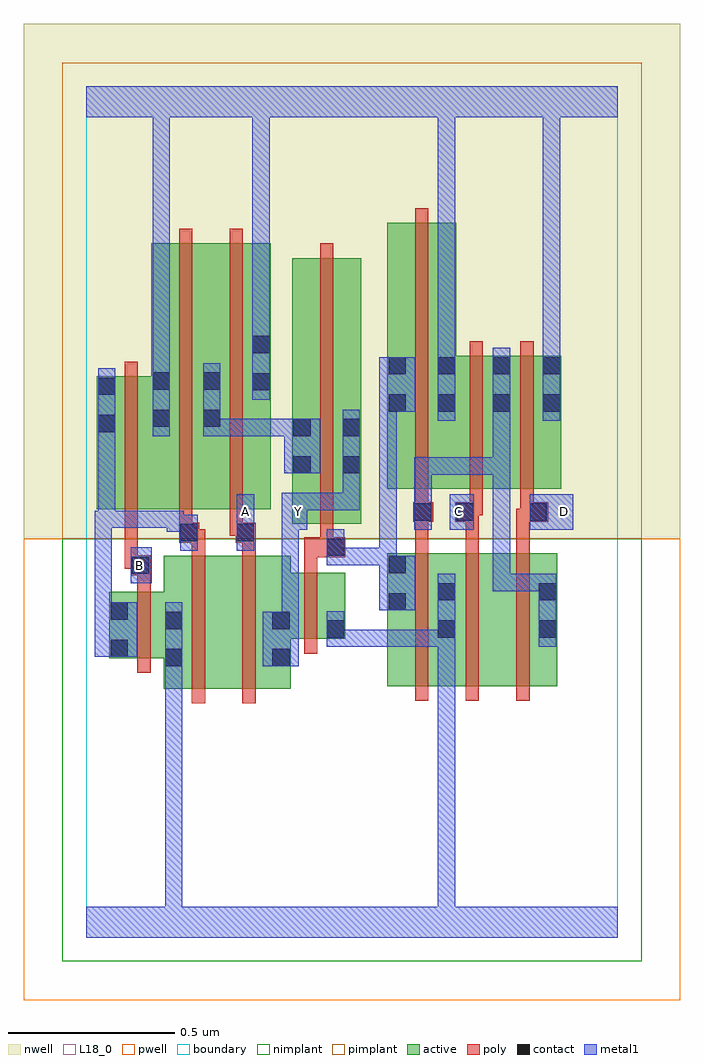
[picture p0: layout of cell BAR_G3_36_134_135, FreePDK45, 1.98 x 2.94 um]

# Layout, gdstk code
import gdstk
lib = gdstk.Library(unit=1e-6, precision=1e-09)
def R(c, l, rs):  # rectangles x0, y0, x1, y1
    for r in rs: c.add(gdstk.rectangle(r[:2], r[2:], *l))
def A(c, l, x, y, w, h, nx, ny, dx, dy):  # array of equal rectangles
    R(c, l, [(x+i*dx, y+j*dy, x+i*dx+w, y+j*dy+h) for i in range(nx) for j in range(ny)])
active = (1, 0)
pwell = (2, 0)
nwell = (3, 0)
nimplant = (4, 0)
pimplant = (5, 0)
poly = (9, 0)
contact = (10, 0)
metal1 = (11, 0)
L18_0 = (18, 0)
boundary = (235, 0)

bar_g3_36_134_135 = lib.new_cell('BAR_G3_36_134_135')
R(bar_g3_36_134_135, active, [(0.234,0.748,0.414,1.148), (0.414,0.748,0.616,1.148), (0.906,0.756,0.966,1.156), (0.906,0.756,1.114,1.156), (1.054,0.756,1.114,1.156), (1.054,0.756,1.238,1.156), (1.238,0.756,1.418,1.156), (1.358,0.756,1.418,1.156), (0.234,0.812,0.294,1.04), (0.556,0.812,0.616,1.098), (0.07,0.84,0.13,1.04), (0.07,0.84,0.294,1.04), (0.556,0.898,0.78,1.098), (0.72,0.898,0.78,1.098), (0.62,1.244,0.68,2.044), (0.62,1.244,0.828,2.044), (0.768,1.244,0.828,2.044), (0.032,1.288,0.092,1.688), (0.032,1.288,0.256,1.688), (0.196,1.288,0.408,2.088), (0.348,1.288,0.556,2.088), (0.496,1.288,0.556,2.044), (0.906,1.35,1.114,2.15), (0.906,1.35,0.966,2.044), (1.054,1.35,1.28,1.75), (1.054,1.35,1.114,2.15), (1.22,1.35,1.28,1.75), (1.22,1.35,1.43,1.75), (1.37,1.35,1.43,1.75), (0.196,1.532,0.256,1.704), (0.348,1.532,0.408,2.044)])
R(bar_g3_36_134_135, pwell, [(-0.188,-0.188,1.788,1.2)])
R(bar_g3_36_134_135, nwell, [(-0.188,1.2,1.788,2.748)])
R(bar_g3_36_134_135, nimplant, [(-0.072,-0.072,1.672,1.2)])
R(bar_g3_36_134_135, pimplant, [(-0.072,1.2,1.672,2.632)])
A(bar_g3_36_134_135, poly, 0.99, 0.712, 0.04, 0.488, 3, 1, 0.152, 0)
A(bar_g3_36_134_135, poly, 0.99, 1.16, 0.04, 0.13, 3, 1, 0.152, 0)
R(bar_g3_36_134_135, poly, [(0.318,0.704,0.358,1.192), (0.47,0.704,0.51,1.192), (0.154,0.796,0.194,1.084), (0.656,0.854,0.696,1.142), (0.154,1.044,0.194,1.13), (0.134,1.09,0.194,1.15), (0.656,1.102,0.696,1.184), (0.116,1.11,0.174,1.15), (0.116,1.11,0.156,1.284), (0.134,1.11,0.174,1.15), (0.656,1.144,0.78,1.204), (0.318,1.152,0.358,1.228), (0.47,1.152,0.51,1.228), (0.704,1.164,0.744,1.24), (0.704,1.164,0.744,1.204), (0.704,1.164,0.744,1.204), (0.28,1.188,0.34,1.248), (0.3,1.188,0.34,1.228), (0.3,1.188,0.358,1.228), (0.45,1.188,0.51,1.248), (0.704,1.2,0.744,2.088), (0.28,1.208,0.32,1.284), (0.432,1.208,0.472,1.284), (0.432,1.208,0.49,1.248), (0.45,1.208,0.49,1.248), (0.116,1.244,0.156,1.732), (0.28,1.244,0.32,2.132), (0.432,1.244,0.472,2.132), (0.984,1.25,1.044,1.31), (0.99,1.25,1.03,1.29), (0.99,1.25,1.03,1.29), (1.11,1.25,1.182,1.31), (1.294,1.25,1.346,1.29), (1.306,1.25,1.346,1.29), (1.306,1.25,1.39,1.31), (0.99,1.27,1.03,1.346), (1.142,1.27,1.182,1.31), (1.142,1.27,1.194,1.31), (1.154,1.27,1.194,1.346), (1.306,1.27,1.346,1.346), (0.99,1.306,1.03,2.194), (1.154,1.306,1.194,1.794), (1.306,1.306,1.346,1.794)])
R(bar_g3_36_134_135, contact, [(0.238,0.816,0.29,0.868), (0.56,0.816,0.612,0.868), (0.074,0.844,0.126,0.896), (0.724,0.902,0.776,0.954), (1.058,0.902,1.11,0.954), (1.362,0.902,1.414,0.954), (0.238,0.928,0.29,0.98), (0.56,0.928,0.612,0.98), (0.074,0.956,0.126,1.008), (0.91,0.984,0.962,1.036), (1.058,1.014,1.11,1.066), (1.362,1.014,1.414,1.066), (0.138,1.094,0.19,1.146), (0.91,1.096,0.962,1.148), (0.724,1.148,0.776,1.2), (0.284,1.192,0.336,1.244), (0.454,1.192,0.506,1.244), (0.988,1.254,1.04,1.306), (1.114,1.254,1.166,1.306), (1.334,1.254,1.386,1.306), (0.624,1.396,0.676,1.448), (0.772,1.396,0.824,1.448), (0.624,1.508,0.676,1.56), (0.772,1.508,0.824,1.56), (0.036,1.52,0.088,1.572), (0.2,1.536,0.252,1.588), (0.352,1.536,0.404,1.588), (0.91,1.582,0.962,1.634), (1.058,1.582,1.11,1.634), (1.224,1.582,1.276,1.634), (1.374,1.582,1.426,1.634), (0.036,1.632,0.088,1.684), (0.5,1.646,0.552,1.698), (0.2,1.648,0.252,1.7), (0.352,1.648,0.404,1.7), (0.91,1.694,0.962,1.746), (1.058,1.694,1.11,1.746), (1.224,1.694,1.276,1.746), (1.374,1.694,1.426,1.746), (0.5,1.758,0.552,1.81)])
R(bar_g3_36_134_135, metal1, [(0,0,1.6,0.092), (0.238,0.04,0.29,0.092), (0.238,0.04,0.29,0.092), (0.238,0.04,0.29,0.092), (0.238,0.04,0.29,0.092), (0.238,0.04,0.29,0.092), (0.238,0.04,0.29,0.092), (0.238,0.04,0.29,0.092), (0.238,0.04,0.29,0.092), (0.238,0.04,0.29,0.092), (0.238,0.04,0.29,0.092), (0.238,0.04,0.29,0.84), (1.058,0.04,1.11,0.092), (1.058,0.04,1.11,0.092), (1.058,0.04,1.11,0.092), (1.058,0.04,1.11,0.092), (1.058,0.04,1.11,0.092), (1.058,0.04,1.11,0.092), (1.058,0.04,1.11,0.092), (1.058,0.04,1.11,0.092), (1.058,0.04,1.11,0.092), (1.058,0.04,1.11,0.092), (1.058,0.04,1.11,0.926), (0.238,0.788,0.29,0.84), (0.238,0.788,0.29,0.84), (0.238,0.788,0.29,1.008), (0.532,0.816,0.64,0.98), (0.026,0.844,0.154,1.008), (0.724,0.874,0.776,0.926), (0.724,0.874,0.776,0.926), (0.724,0.874,0.776,0.926), (0.724,0.874,0.776,0.926), (0.724,0.874,0.776,0.982), (0.724,0.874,0.93,0.926), (0.878,0.874,0.93,0.926), (0.878,0.874,0.934,0.926), (0.882,0.874,0.934,0.926), (0.882,0.874,1.11,0.926), (1.058,0.874,1.11,0.926), (1.058,0.874,1.11,0.926), (1.058,0.874,1.11,1.094), (1.362,0.874,1.414,1.094), (0.588,0.928,0.64,1.278), (0.026,0.956,0.078,1.284), (0.882,0.984,0.99,1.148), (1.224,1.042,1.276,1.094), (1.224,1.042,1.414,1.094), (1.224,1.042,1.276,1.444), (1.362,1.042,1.414,1.094), (1.362,1.042,1.414,1.094), (0.134,1.066,0.198,1.174), (0.882,1.096,0.934,1.172), (0.724,1.12,0.776,1.172), (0.724,1.12,0.776,1.172), (0.724,1.12,0.776,1.228), (0.724,1.12,0.934,1.172), (0.882,1.12,0.934,1.172), (0.882,1.12,0.934,1.172), (0.882,1.12,0.934,1.172), (0.882,1.12,0.934,1.634), (0.284,1.164,0.336,1.272), (0.454,1.164,0.506,1.334), (0.242,1.22,0.336,1.272), (0.242,1.22,0.294,1.284), (0.588,1.226,0.666,1.338), (0.988,1.226,1.04,1.334), (1.094,1.226,1.166,1.334), (1.334,1.226,1.466,1.334), (0.026,1.232,0.078,1.284), (0.026,1.232,0.078,1.284), (0.026,1.232,0.088,1.284), (0.036,1.232,0.088,1.284), (0.036,1.232,0.088,1.284), (0.036,1.232,0.294,1.284), (0.036,1.232,0.088,1.544), (0.988,1.282,1.04,1.334), (0.988,1.282,1.04,1.444), (0.614,1.286,0.666,1.338), (0.614,1.286,0.666,1.338), (0.614,1.286,0.666,1.338), (0.614,1.286,0.666,1.338), (0.614,1.286,0.824,1.338), (0.772,1.286,0.824,1.338), (0.772,1.286,0.824,1.42), (0.772,1.368,0.824,1.588), (0.988,1.392,1.276,1.444), (1.224,1.392,1.276,1.444), (1.224,1.392,1.276,1.444), (1.224,1.392,1.276,1.444), (1.224,1.392,1.276,1.444), (1.224,1.392,1.276,1.444), (1.224,1.392,1.276,1.606), (0.596,1.396,0.704,1.56), (0.036,1.492,0.088,1.712), (0.2,1.508,0.252,1.728), (0.352,1.508,0.404,1.56), (0.352,1.508,0.404,1.56), (0.352,1.508,0.404,1.728), (0.352,1.508,0.556,1.56), (0.504,1.508,0.556,1.56), (0.504,1.508,0.648,1.56), (1.058,1.554,1.11,1.774), (1.224,1.554,1.276,1.774), (1.374,1.554,1.426,1.774), (0.882,1.582,0.99,1.746), (0.5,1.618,0.552,1.838), (0.2,1.676,0.252,1.728), (0.2,1.676,0.252,1.728), (0.2,1.676,0.252,1.728), (0.2,1.676,0.252,1.728), (0.2,1.676,0.252,2.52), (1.058,1.722,1.11,1.774), (1.058,1.722,1.11,1.774), (1.058,1.722,1.11,2.52), (1.374,1.722,1.426,1.774), (1.374,1.722,1.426,1.774), (1.374,1.722,1.426,2.52), (0.5,1.786,0.552,2.52), (0,2.468,1.6,2.56), (0.2,2.468,0.252,2.52), (0.2,2.468,0.252,2.52), (0.2,2.468,0.252,2.52), (0.2,2.468,0.252,2.52), (0.5,2.468,0.552,2.52), (0.5,2.468,0.552,2.52), (0.5,2.468,0.552,2.52), (0.5,2.468,0.552,2.52), (0.5,2.468,0.552,2.52), (0.5,2.468,0.552,2.52), (0.5,2.468,0.552,2.52), (0.5,2.468,0.552,2.52), (1.058,2.468,1.11,2.52), (1.058,2.468,1.11,2.52), (1.058,2.468,1.11,2.52), (1.058,2.468,1.11,2.52), (1.058,2.468,1.11,2.52), (1.058,2.468,1.11,2.52), (1.374,2.468,1.426,2.52), (1.374,2.468,1.426,2.52), (1.374,2.468,1.426,2.52), (1.374,2.468,1.426,2.52), (1.374,2.468,1.426,2.52), (1.374,2.468,1.426,2.52), (1.374,2.468,1.426,2.52), (1.374,2.468,1.426,2.52), (1.374,2.468,1.426,2.52), (1.374,2.468,1.426,2.52), (1.374,2.468,1.426,2.52), (1.374,2.468,1.426,2.52), (1.374,2.468,1.426,2.52), (1.374,2.468,1.426,2.52)])
R(bar_g3_36_134_135, L18_0, [(0,0,1.6,0.092), (0.238,0.04,0.29,0.092), (0.238,0.04,0.29,0.092), (0.238,0.04,0.29,0.092), (0.238,0.04,0.29,0.092), (0.238,0.04,0.29,0.092), (0.238,0.04,0.29,0.092), (0.238,0.04,0.29,0.092), (0.238,0.04,0.29,0.092), (0.238,0.04,0.29,0.092), (0.238,0.04,0.29,0.092), (0.238,0.04,0.29,0.84), (1.058,0.04,1.11,0.092), (1.058,0.04,1.11,0.092), (1.058,0.04,1.11,0.092), (1.058,0.04,1.11,0.092), (1.058,0.04,1.11,0.092), (1.058,0.04,1.11,0.092), (1.058,0.04,1.11,0.092), (1.058,0.04,1.11,0.092), (1.058,0.04,1.11,0.092), (1.058,0.04,1.11,0.092), (1.058,0.04,1.11,0.926), (0.238,0.788,0.29,0.84), (0.238,0.788,0.29,0.84), (0.238,0.788,0.29,1.008), (0.532,0.816,0.64,0.98), (0.724,0.874,0.776,0.926), (0.724,0.874,0.776,0.926), (0.724,0.874,0.776,0.926), (0.724,0.874,0.776,0.926), (0.724,0.874,0.776,0.982), (0.724,0.874,0.93,0.926), (0.878,0.874,0.93,0.926), (0.878,0.874,0.934,0.926), (0.882,0.874,0.934,0.926), (0.882,0.874,1.11,0.926), (1.058,0.874,1.11,0.926), (1.058,0.874,1.11,0.926), (1.058,0.874,1.11,1.094), (0.588,0.928,0.64,1.278), (0.134,1.066,0.198,1.174), (0.134,1.094,0.186,1.146), (0.454,1.164,0.506,1.334), (0.588,1.226,0.666,1.338), (1.094,1.226,1.166,1.334), (1.334,1.226,1.466,1.334), (0.454,1.254,0.506,1.306), (0.614,1.254,0.666,1.306), (1.094,1.254,1.146,1.306), (1.414,1.254,1.466,1.306), (0.614,1.286,0.666,1.338), (0.614,1.286,0.666,1.338), (0.614,1.286,0.666,1.338), (0.614,1.286,0.666,1.338), (0.614,1.286,0.824,1.338), (0.772,1.286,0.824,1.338), (0.772,1.286,0.824,1.42), (0.772,1.368,0.824,1.588), (0.2,1.508,0.252,1.728), (1.058,1.554,1.11,1.774), (1.374,1.554,1.426,1.774), (0.5,1.618,0.552,1.838), (0.2,1.676,0.252,1.728), (0.2,1.676,0.252,1.728), (0.2,1.676,0.252,1.728), (0.2,1.676,0.252,1.728), (0.2,1.676,0.252,2.52), (1.058,1.722,1.11,1.774), (1.058,1.722,1.11,1.774), (1.058,1.722,1.11,2.52), (1.374,1.722,1.426,1.774), (1.374,1.722,1.426,1.774), (1.374,1.722,1.426,2.52), (0.5,1.786,0.552,2.52), (0,2.468,1.6,2.56), (0.2,2.468,0.252,2.52), (0.2,2.468,0.252,2.52), (0.2,2.468,0.252,2.52), (0.2,2.468,0.252,2.52), (0.5,2.468,0.552,2.52), (0.5,2.468,0.552,2.52), (0.5,2.468,0.552,2.52), (0.5,2.468,0.552,2.52), (0.5,2.468,0.552,2.52), (0.5,2.468,0.552,2.52), (0.5,2.468,0.552,2.52), (0.5,2.468,0.552,2.52), (1.058,2.468,1.11,2.52), (1.058,2.468,1.11,2.52), (1.058,2.468,1.11,2.52), (1.058,2.468,1.11,2.52), (1.058,2.468,1.11,2.52), (1.058,2.468,1.11,2.52), (1.374,2.468,1.426,2.52), (1.374,2.468,1.426,2.52), (1.374,2.468,1.426,2.52), (1.374,2.468,1.426,2.52), (1.374,2.468,1.426,2.52), (1.374,2.468,1.426,2.52), (1.374,2.468,1.426,2.52), (1.374,2.468,1.426,2.52), (1.374,2.468,1.426,2.52), (1.374,2.468,1.426,2.52), (1.374,2.468,1.426,2.52), (1.374,2.468,1.426,2.52), (1.374,2.468,1.426,2.52), (1.374,2.468,1.426,2.52)])
R(bar_g3_36_134_135, boundary, [(0,0,1.6,2.56)])
bar_g3_36_134_135.add(gdstk.Label('A', (0.48,1.28), layer=11, texttype=0))
bar_g3_36_134_135.add(gdstk.Label('B', (0.16,1.12), layer=11, texttype=0))
bar_g3_36_134_135.add(gdstk.Label('C', (1.12,1.28), layer=11, texttype=0))
bar_g3_36_134_135.add(gdstk.Label('D', (1.44,1.28), layer=11, texttype=0))
bar_g3_36_134_135.add(gdstk.Label('Y', (0.64,1.28), layer=11, texttype=0))

lib.write_gds('BAR_G3_36_134_135.gds')
